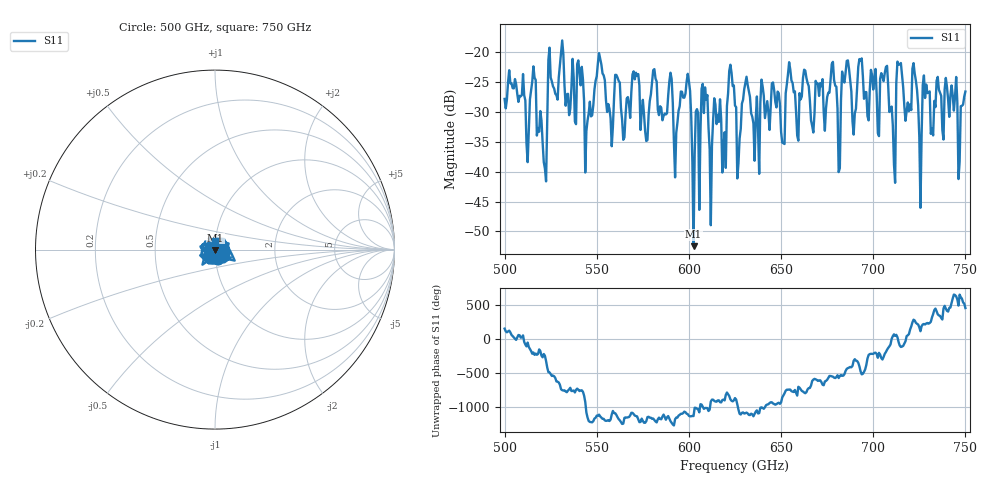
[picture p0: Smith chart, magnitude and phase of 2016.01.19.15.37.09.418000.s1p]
!Created with skrf (http://scikit-rf.org).
# GHz S RI R 50.0
!freq ReS11 ImS11
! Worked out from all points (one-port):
!   401 points, 500 GHz to 750 GHz, reference 50 ohm
!   lowest |S11| = -52.5 dB at 602.5 GHz (marker M1), VSWR 1.00, Z = 50.2 - j0.175 ohm
!   |S11| at or under -10 dB: start of sweep to end of sweep
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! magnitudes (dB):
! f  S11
! 500 GHz  -27.8
! 512.5 GHz  -38.4
! 515.6 GHz  -22.4
! 521.9 GHz  -39.5
! 524.4 GHz  -19.2
! 531.2 GHz  -18.0
! 544.4 GHz  -33.2
! 551.2 GHz  -20.1
! 557.5 GHz  -31.1
! 562.5 GHz  -25.1
! 593.8 GHz  -31.8
! 599.4 GHz  -23.6
! 602.5 GHz  -52.5
! 608.1 GHz  -30.2
! 611.9 GHz  -49.0
! 619.4 GHz  -33.4
! 622.5 GHz  -22.1
! 625 GHz  -28.9
! 650.6 GHz  -35.1
! 656.2 GHz  -25.1
! 678.1 GHz  -21.6
! 681.2 GHz  -40.1
! 687.5 GHz  -24.8
! 706.2 GHz  -23.5
! 710.6 GHz  -32.2
! 714.4 GHz  -22.0
! 718.8 GHz  -28.4
! 750 GHz  -26.6
